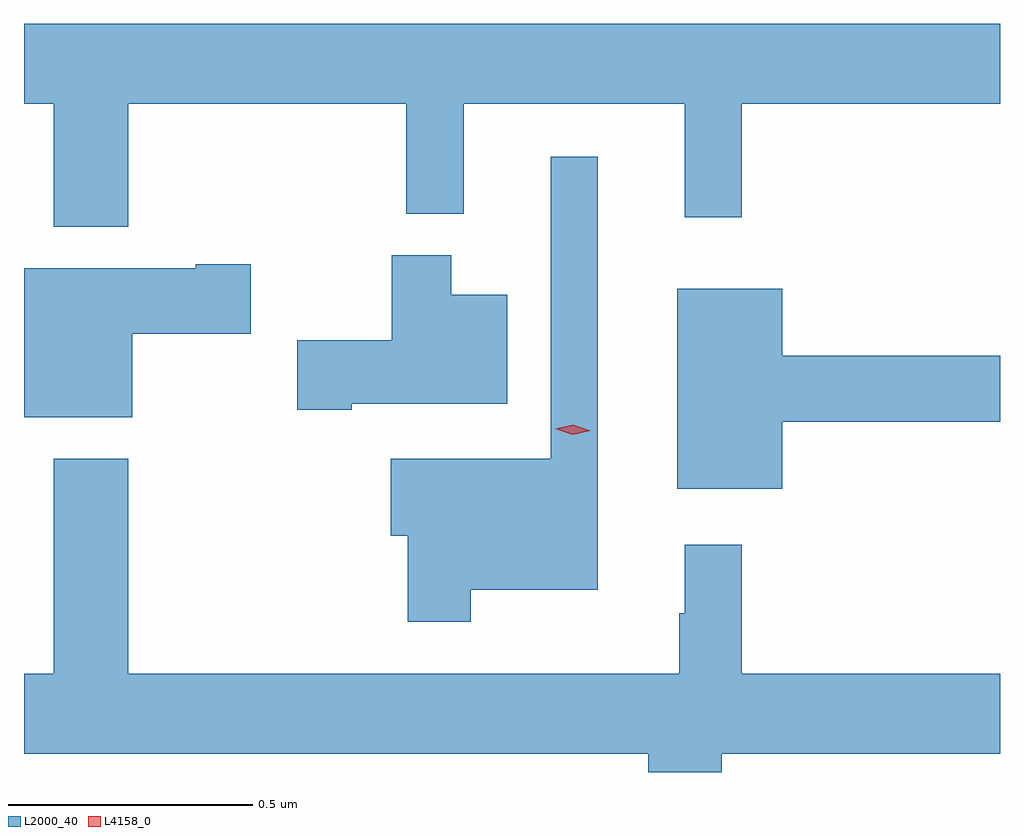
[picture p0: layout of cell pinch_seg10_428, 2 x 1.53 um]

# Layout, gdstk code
import gdstk
lib = gdstk.Library(unit=1e-6, precision=1e-09)
def P(c, l, *ps):  # polygons
    for p in ps: c.add(gdstk.Polygon(p, *l))
L2000_40 = (2000, 40)
L4158_0 = (4158, 0)

pinch_seg10_428 = lib.new_cell('pinch_seg10_428')
P(pinch_seg10_428, L2000_40, [(598.604,1251.032),(599.173,1251.032),(599.173,1250.807),(599.291,1250.807),(599.291,1251.032),(599.744,1251.032),(599.744,1250.799),(599.861,1250.799),(599.861,1251.032),(600.39,1251.032),(600.39,1251.196),(598.39,1251.196),(598.39,1251.032),(598.451,1251.032),(598.451,1250.78),(598.604,1250.78)],
  [(599.305,1250.036),(599.566,1250.036),(599.566,1250.923),(599.469,1250.923),(599.469,1250.305),(599.142,1250.305),(599.142,1250.147),(599.176,1250.147),(599.176,1249.971),(599.305,1249.971)],
  [(599.062,1250.417),(599.38,1250.417),(599.38,1250.641),(599.266,1250.641),(599.266,1250.722),(599.144,1250.722),(599.144,1250.547),(598.95,1250.547),(598.95,1250.405),(599.062,1250.405)],
  [(598.612,1250.561),(598.855,1250.561),(598.855,1250.703),(598.742,1250.703),(598.742,1250.695),(598.39,1250.695),(598.39,1250.39),(598.612,1250.39)],
  [(599.944,1250.38),(600.39,1250.38),(600.39,1250.516),(599.944,1250.516),(599.944,1250.653),(599.729,1250.653),(599.729,1250.243),(599.944,1250.243)],
  [(599.82,1249.7),(600.39,1249.7),(600.39,1249.864),(599.861,1249.864),(599.861,1250.128),(599.744,1250.128),(599.744,1249.988),(599.733,1249.988),(599.733,1249.864),(598.604,1249.864),(598.604,1250.305),(598.451,1250.305),(598.451,1249.864),(598.39,1249.864),(598.39,1249.7),(599.669,1249.7),(599.669,1249.662),(599.82,1249.662)])
P(pinch_seg10_428, L4158_0, [(599.514,1250.354),(599.479,1250.366),(599.479,1250.366),(599.479,1250.366),(599.515,1250.374),(599.55,1250.362),(599.55,1250.362),(599.55,1250.362)])

lib.write_gds('pinch_seg10_428.gds')
